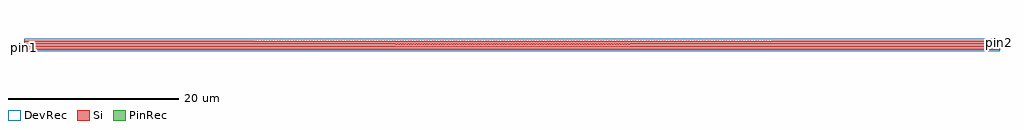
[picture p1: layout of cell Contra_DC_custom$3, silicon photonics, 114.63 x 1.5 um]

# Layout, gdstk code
import gdstk
lib = gdstk.Library(unit=1e-6, precision=1e-09)
def R(c, l, rs):  # rectangles x0, y0, x1, y1
    for r in rs: c.add(gdstk.rectangle(r[:2], r[2:], *l))
def A(c, l, x, y, w, h, nx, ny, dx, dy):  # array of equal rectangles
    R(c, l, [(x+i*dx, y+j*dy, x+i*dx+w, y+j*dy+h) for i in range(nx) for j in range(ny)])
def P(c, l, *ps):  # polygons
    for p in ps: c.add(gdstk.Polygon(p, *l))
Si = (1, 0)
PinRec = (1, 10)
DevRec = (68, 0)

contra_dc_custom_3 = lib.new_cell('Contra_DC_custom$3')
A(contra_dc_custom_3, Si, 43.803, -0.579, 0.157, 0.254, 88, 1, 0.314, 0)
A(contra_dc_custom_3, Si, 36.895, -0.578, 0.157, 0.253, 22, 1, 0.314, 0)
A(contra_dc_custom_3, Si, 71.435, -0.578, 0.157, 0.253, 22, 1, 0.314, 0)
A(contra_dc_custom_3, Si, 29.987, -0.577, 0.157, 0.252, 22, 1, 0.314, 0)
A(contra_dc_custom_3, Si, 78.343, -0.577, 0.157, 0.252, 22, 1, 0.314, 0)
A(contra_dc_custom_3, Si, 20.881, -0.576, 0.157, 0.251, 29, 1, 0.314, 0)
A(contra_dc_custom_3, Si, 85.251, -0.576, 0.157, 0.251, 29, 1, 0.314, 0)
A(contra_dc_custom_3, Si, 0.157, -0.575, 0.157, 0.25, 66, 2, 0.314, 0.25)
A(contra_dc_custom_3, Si, 94.357, -0.575, 0.157, 0.25, 65, 2, 0.314, 0.25)
A(contra_dc_custom_3, Si, 0, -0.574, 0.157, 0.249, 66, 1, 0.314, 0)
A(contra_dc_custom_3, Si, 94.2, -0.574, 0.157, 0.249, 65, 1, 0.314, 0)
A(contra_dc_custom_3, Si, 20.724, -0.573, 0.157, 0.248, 29, 1, 0.314, 0)
A(contra_dc_custom_3, Si, 85.094, -0.573, 0.157, 0.248, 29, 1, 0.314, 0)
A(contra_dc_custom_3, Si, 29.83, -0.572, 0.157, 0.247, 22, 1, 0.314, 0)
A(contra_dc_custom_3, Si, 78.186, -0.572, 0.157, 0.247, 22, 1, 0.314, 0)
A(contra_dc_custom_3, Si, 36.738, -0.571, 0.157, 0.246, 22, 1, 0.314, 0)
A(contra_dc_custom_3, Si, 71.278, -0.571, 0.157, 0.246, 22, 1, 0.314, 0)
A(contra_dc_custom_3, Si, 43.646, -0.57, 0.157, 0.245, 88, 1, 0.314, 0)
A(contra_dc_custom_3, Si, 0, -0.325, 0.157, 0.251, 66, 1, 0.314, 0)
A(contra_dc_custom_3, Si, 20.724, -0.325, 0.157, 0.252, 29, 1, 0.314, 0)
A(contra_dc_custom_3, Si, 20.881, -0.325, 0.157, 0.249, 29, 1, 0.314, 0)
A(contra_dc_custom_3, Si, 29.83, -0.325, 0.157, 0.253, 22, 1, 0.314, 0)
A(contra_dc_custom_3, Si, 29.987, -0.325, 0.157, 0.248, 22, 1, 0.314, 0)
A(contra_dc_custom_3, Si, 36.738, -0.325, 0.157, 0.254, 22, 1, 0.314, 0)
A(contra_dc_custom_3, Si, 36.895, -0.325, 0.157, 0.247, 22, 1, 0.314, 0)
A(contra_dc_custom_3, Si, 43.646, -0.325, 0.157, 0.255, 88, 1, 0.314, 0)
A(contra_dc_custom_3, Si, 43.803, -0.325, 0.157, 0.246, 88, 1, 0.314, 0)
A(contra_dc_custom_3, Si, 71.278, -0.325, 0.157, 0.254, 22, 1, 0.314, 0)
A(contra_dc_custom_3, Si, 71.435, -0.325, 0.157, 0.247, 22, 1, 0.314, 0)
A(contra_dc_custom_3, Si, 78.186, -0.325, 0.157, 0.253, 22, 1, 0.314, 0)
A(contra_dc_custom_3, Si, 78.343, -0.325, 0.157, 0.248, 22, 1, 0.314, 0)
A(contra_dc_custom_3, Si, 85.094, -0.325, 0.157, 0.252, 29, 1, 0.314, 0)
A(contra_dc_custom_3, Si, 85.251, -0.325, 0.157, 0.249, 29, 1, 0.314, 0)
A(contra_dc_custom_3, Si, 94.2, -0.325, 0.157, 0.251, 65, 1, 0.314, 0)
A(contra_dc_custom_3, Si, 50.868, 0.055, 0.157, 0.22, 42, 1, 0.314, 0)
A(contra_dc_custom_3, Si, 48.042, 0.056, 0.157, 0.219, 9, 1, 0.314, 0)
A(contra_dc_custom_3, Si, 64.056, 0.056, 0.157, 0.219, 9, 1, 0.314, 0)
A(contra_dc_custom_3, Si, 45.844, 0.057, 0.157, 0.218, 7, 1, 0.314, 0)
A(contra_dc_custom_3, Si, 66.882, 0.057, 0.157, 0.218, 7, 1, 0.314, 0)
A(contra_dc_custom_3, Si, 43.646, 0.058, 0.157, 0.217, 7, 1, 0.314, 0)
A(contra_dc_custom_3, Si, 69.08, 0.058, 0.157, 0.217, 7, 1, 0.314, 0)
A(contra_dc_custom_3, Si, 42.076, 0.059, 0.157, 0.216, 5, 1, 0.314, 0)
A(contra_dc_custom_3, Si, 71.278, 0.059, 0.157, 0.216, 5, 1, 0.314, 0)
A(contra_dc_custom_3, Si, 40.192, 0.06, 0.157, 0.215, 6, 1, 0.314, 0)
A(contra_dc_custom_3, Si, 72.848, 0.06, 0.157, 0.215, 6, 1, 0.314, 0)
A(contra_dc_custom_3, Si, 38.622, 0.061, 0.157, 0.214, 5, 1, 0.314, 0)
A(contra_dc_custom_3, Si, 74.732, 0.061, 0.157, 0.214, 5, 1, 0.314, 0)
A(contra_dc_custom_3, Si, 36.738, 0.062, 0.157, 0.213, 6, 1, 0.314, 0)
A(contra_dc_custom_3, Si, 76.302, 0.062, 0.157, 0.213, 6, 1, 0.314, 0)
A(contra_dc_custom_3, Si, 35.168, 0.063, 0.157, 0.212, 5, 1, 0.314, 0)
A(contra_dc_custom_3, Si, 78.186, 0.063, 0.157, 0.212, 5, 1, 0.314, 0)
A(contra_dc_custom_3, Si, 33.284, 0.064, 0.157, 0.211, 6, 1, 0.314, 0)
A(contra_dc_custom_3, Si, 79.756, 0.064, 0.157, 0.211, 6, 1, 0.314, 0)
A(contra_dc_custom_3, Si, 31.714, 0.065, 0.157, 0.21, 5, 1, 0.314, 0)
A(contra_dc_custom_3, Si, 81.64, 0.065, 0.157, 0.21, 5, 1, 0.314, 0)
A(contra_dc_custom_3, Si, 29.83, 0.066, 0.157, 0.209, 6, 1, 0.314, 0)
A(contra_dc_custom_3, Si, 83.21, 0.066, 0.157, 0.209, 6, 1, 0.314, 0)
A(contra_dc_custom_3, Si, 27.946, 0.067, 0.157, 0.208, 6, 1, 0.314, 0)
A(contra_dc_custom_3, Si, 85.094, 0.067, 0.157, 0.208, 6, 1, 0.314, 0)
A(contra_dc_custom_3, Si, 25.748, 0.068, 0.157, 0.207, 7, 1, 0.314, 0)
A(contra_dc_custom_3, Si, 86.978, 0.068, 0.157, 0.207, 7, 1, 0.314, 0)
A(contra_dc_custom_3, Si, 23.236, 0.069, 0.157, 0.206, 8, 1, 0.314, 0)
A(contra_dc_custom_3, Si, 89.176, 0.069, 0.157, 0.206, 8, 1, 0.314, 0)
A(contra_dc_custom_3, Si, 20.724, 0.07, 0.157, 0.205, 8, 1, 0.314, 0)
A(contra_dc_custom_3, Si, 91.688, 0.07, 0.157, 0.205, 8, 1, 0.314, 0)
A(contra_dc_custom_3, Si, 17.584, 0.071, 0.157, 0.204, 10, 1, 0.314, 0)
A(contra_dc_custom_3, Si, 94.2, 0.071, 0.157, 0.204, 10, 1, 0.314, 0)
A(contra_dc_custom_3, Si, 13.502, 0.072, 0.157, 0.203, 13, 1, 0.314, 0)
A(contra_dc_custom_3, Si, 97.34, 0.072, 0.157, 0.203, 13, 1, 0.314, 0)
A(contra_dc_custom_3, Si, 7.222, 0.073, 0.157, 0.202, 20, 1, 0.314, 0)
A(contra_dc_custom_3, Si, 101.422, 0.073, 0.157, 0.202, 20, 1, 0.314, 0)
A(contra_dc_custom_3, Si, 0, 0.074, 0.157, 0.201, 23, 1, 0.314, 0)
A(contra_dc_custom_3, Si, 107.702, 0.074, 0.157, 0.201, 22, 1, 0.314, 0)
A(contra_dc_custom_3, Si, 0.157, 0.075, 0.157, 0.2, 23, 1, 0.314, 0)
A(contra_dc_custom_3, Si, 107.859, 0.075, 0.157, 0.2, 22, 1, 0.314, 0)
A(contra_dc_custom_3, Si, 7.379, 0.076, 0.157, 0.199, 20, 1, 0.314, 0)
A(contra_dc_custom_3, Si, 101.579, 0.076, 0.157, 0.199, 20, 1, 0.314, 0)
A(contra_dc_custom_3, Si, 13.659, 0.077, 0.157, 0.198, 13, 1, 0.314, 0)
A(contra_dc_custom_3, Si, 97.497, 0.077, 0.157, 0.198, 13, 1, 0.314, 0)
A(contra_dc_custom_3, Si, 17.741, 0.078, 0.157, 0.197, 10, 1, 0.314, 0)
A(contra_dc_custom_3, Si, 94.357, 0.078, 0.157, 0.197, 10, 1, 0.314, 0)
A(contra_dc_custom_3, Si, 20.881, 0.079, 0.157, 0.196, 8, 1, 0.314, 0)
A(contra_dc_custom_3, Si, 91.845, 0.079, 0.157, 0.196, 8, 1, 0.314, 0)
A(contra_dc_custom_3, Si, 23.393, 0.08, 0.157, 0.195, 8, 1, 0.314, 0)
A(contra_dc_custom_3, Si, 89.333, 0.08, 0.157, 0.195, 8, 1, 0.314, 0)
A(contra_dc_custom_3, Si, 25.905, 0.081, 0.157, 0.194, 7, 1, 0.314, 0)
A(contra_dc_custom_3, Si, 87.135, 0.081, 0.157, 0.194, 7, 1, 0.314, 0)
A(contra_dc_custom_3, Si, 28.103, 0.082, 0.157, 0.193, 6, 1, 0.314, 0)
A(contra_dc_custom_3, Si, 85.251, 0.082, 0.157, 0.193, 6, 1, 0.314, 0)
A(contra_dc_custom_3, Si, 29.987, 0.083, 0.157, 0.192, 6, 1, 0.314, 0)
A(contra_dc_custom_3, Si, 83.367, 0.083, 0.157, 0.192, 6, 1, 0.314, 0)
A(contra_dc_custom_3, Si, 31.871, 0.084, 0.157, 0.191, 5, 1, 0.314, 0)
A(contra_dc_custom_3, Si, 81.797, 0.084, 0.157, 0.191, 5, 1, 0.314, 0)
A(contra_dc_custom_3, Si, 33.441, 0.085, 0.157, 0.19, 6, 1, 0.314, 0)
A(contra_dc_custom_3, Si, 79.913, 0.085, 0.157, 0.19, 6, 1, 0.314, 0)
A(contra_dc_custom_3, Si, 35.325, 0.086, 0.157, 0.189, 5, 1, 0.314, 0)
A(contra_dc_custom_3, Si, 78.343, 0.086, 0.157, 0.189, 5, 1, 0.314, 0)
A(contra_dc_custom_3, Si, 36.895, 0.087, 0.157, 0.188, 6, 1, 0.314, 0)
A(contra_dc_custom_3, Si, 76.459, 0.087, 0.157, 0.188, 6, 1, 0.314, 0)
A(contra_dc_custom_3, Si, 38.779, 0.088, 0.157, 0.187, 5, 1, 0.314, 0)
A(contra_dc_custom_3, Si, 74.889, 0.088, 0.157, 0.187, 5, 1, 0.314, 0)
A(contra_dc_custom_3, Si, 40.349, 0.089, 0.157, 0.186, 6, 1, 0.314, 0)
A(contra_dc_custom_3, Si, 73.005, 0.089, 0.157, 0.186, 6, 1, 0.314, 0)
A(contra_dc_custom_3, Si, 42.233, 0.09, 0.157, 0.185, 5, 1, 0.314, 0)
A(contra_dc_custom_3, Si, 71.435, 0.09, 0.157, 0.185, 5, 1, 0.314, 0)
A(contra_dc_custom_3, Si, 43.803, 0.091, 0.157, 0.184, 7, 1, 0.314, 0)
A(contra_dc_custom_3, Si, 69.237, 0.091, 0.157, 0.184, 7, 1, 0.314, 0)
A(contra_dc_custom_3, Si, 46.001, 0.092, 0.157, 0.183, 7, 1, 0.314, 0)
A(contra_dc_custom_3, Si, 67.039, 0.092, 0.157, 0.183, 7, 1, 0.314, 0)
A(contra_dc_custom_3, Si, 48.199, 0.093, 0.157, 0.182, 9, 1, 0.314, 0)
A(contra_dc_custom_3, Si, 64.213, 0.093, 0.157, 0.182, 9, 1, 0.314, 0)
A(contra_dc_custom_3, Si, 51.025, 0.094, 0.157, 0.181, 42, 1, 0.314, 0)
A(contra_dc_custom_3, Si, 0, 0.275, 0.157, 0.199, 31, 1, 0.314, 0)
A(contra_dc_custom_3, Si, 0.157, 0.275, 0.157, 0.2, 31, 1, 0.314, 0)
A(contra_dc_custom_3, Si, 9.734, 0.275, 0.157, 0.198, 21, 1, 0.314, 0)
A(contra_dc_custom_3, Si, 9.891, 0.275, 0.157, 0.201, 21, 1, 0.314, 0)
A(contra_dc_custom_3, Si, 16.328, 0.275, 0.157, 0.197, 14, 1, 0.314, 0)
A(contra_dc_custom_3, Si, 16.485, 0.275, 0.157, 0.202, 14, 1, 0.314, 0)
A(contra_dc_custom_3, Si, 20.724, 0.275, 0.157, 0.196, 11, 1, 0.314, 0)
A(contra_dc_custom_3, Si, 20.881, 0.275, 0.157, 0.203, 11, 1, 0.314, 0)
A(contra_dc_custom_3, Si, 24.178, 0.275, 0.157, 0.195, 9, 1, 0.314, 0)
A(contra_dc_custom_3, Si, 24.335, 0.275, 0.157, 0.204, 9, 1, 0.314, 0)
A(contra_dc_custom_3, Si, 27.004, 0.275, 0.157, 0.194, 9, 1, 0.314, 0)
A(contra_dc_custom_3, Si, 27.161, 0.275, 0.157, 0.205, 9, 1, 0.314, 0)
A(contra_dc_custom_3, Si, 29.83, 0.275, 0.157, 0.193, 8, 1, 0.314, 0)
A(contra_dc_custom_3, Si, 29.987, 0.275, 0.157, 0.206, 8, 1, 0.314, 0)
A(contra_dc_custom_3, Si, 32.342, 0.275, 0.157, 0.192, 7, 1, 0.314, 0)
A(contra_dc_custom_3, Si, 32.499, 0.275, 0.157, 0.207, 7, 1, 0.314, 0)
A(contra_dc_custom_3, Si, 34.54, 0.275, 0.157, 0.191, 7, 1, 0.314, 0)
A(contra_dc_custom_3, Si, 34.697, 0.275, 0.157, 0.208, 7, 1, 0.314, 0)
A(contra_dc_custom_3, Si, 36.738, 0.275, 0.157, 0.19, 7, 1, 0.314, 0)
A(contra_dc_custom_3, Si, 36.895, 0.275, 0.157, 0.209, 7, 1, 0.314, 0)
A(contra_dc_custom_3, Si, 38.936, 0.275, 0.157, 0.189, 8, 1, 0.314, 0)
A(contra_dc_custom_3, Si, 39.093, 0.275, 0.157, 0.21, 8, 1, 0.314, 0)
A(contra_dc_custom_3, Si, 41.448, 0.275, 0.157, 0.188, 7, 1, 0.314, 0)
A(contra_dc_custom_3, Si, 41.605, 0.275, 0.157, 0.211, 7, 1, 0.314, 0)
A(contra_dc_custom_3, Si, 43.646, 0.275, 0.157, 0.187, 9, 1, 0.314, 0)
A(contra_dc_custom_3, Si, 43.803, 0.275, 0.157, 0.212, 9, 1, 0.314, 0)
A(contra_dc_custom_3, Si, 46.472, 0.275, 0.157, 0.186, 11, 1, 0.314, 0)
A(contra_dc_custom_3, Si, 46.629, 0.275, 0.157, 0.213, 11, 1, 0.314, 0)
A(contra_dc_custom_3, Si, 49.926, 0.275, 0.157, 0.185, 48, 1, 0.314, 0)
A(contra_dc_custom_3, Si, 50.083, 0.275, 0.157, 0.214, 48, 1, 0.314, 0)
A(contra_dc_custom_3, Si, 64.998, 0.275, 0.157, 0.186, 11, 1, 0.314, 0)
A(contra_dc_custom_3, Si, 65.155, 0.275, 0.157, 0.213, 11, 1, 0.314, 0)
A(contra_dc_custom_3, Si, 68.452, 0.275, 0.157, 0.187, 9, 1, 0.314, 0)
A(contra_dc_custom_3, Si, 68.609, 0.275, 0.157, 0.212, 9, 1, 0.314, 0)
A(contra_dc_custom_3, Si, 71.278, 0.275, 0.157, 0.188, 7, 1, 0.314, 0)
A(contra_dc_custom_3, Si, 71.435, 0.275, 0.157, 0.211, 7, 1, 0.314, 0)
A(contra_dc_custom_3, Si, 73.476, 0.275, 0.157, 0.189, 8, 1, 0.314, 0)
A(contra_dc_custom_3, Si, 73.633, 0.275, 0.157, 0.21, 8, 1, 0.314, 0)
A(contra_dc_custom_3, Si, 75.988, 0.275, 0.157, 0.19, 7, 1, 0.314, 0)
A(contra_dc_custom_3, Si, 76.145, 0.275, 0.157, 0.209, 7, 1, 0.314, 0)
A(contra_dc_custom_3, Si, 78.186, 0.275, 0.157, 0.191, 7, 1, 0.314, 0)
A(contra_dc_custom_3, Si, 78.343, 0.275, 0.157, 0.208, 7, 1, 0.314, 0)
A(contra_dc_custom_3, Si, 80.384, 0.275, 0.157, 0.192, 7, 1, 0.314, 0)
A(contra_dc_custom_3, Si, 80.541, 0.275, 0.157, 0.207, 7, 1, 0.314, 0)
A(contra_dc_custom_3, Si, 82.582, 0.275, 0.157, 0.193, 8, 1, 0.314, 0)
A(contra_dc_custom_3, Si, 82.739, 0.275, 0.157, 0.206, 8, 1, 0.314, 0)
A(contra_dc_custom_3, Si, 85.094, 0.275, 0.157, 0.194, 9, 1, 0.314, 0)
A(contra_dc_custom_3, Si, 85.251, 0.275, 0.157, 0.205, 9, 1, 0.314, 0)
A(contra_dc_custom_3, Si, 87.92, 0.275, 0.157, 0.195, 9, 1, 0.314, 0)
A(contra_dc_custom_3, Si, 88.077, 0.275, 0.157, 0.204, 9, 1, 0.314, 0)
A(contra_dc_custom_3, Si, 90.746, 0.275, 0.157, 0.196, 11, 1, 0.314, 0)
A(contra_dc_custom_3, Si, 90.903, 0.275, 0.157, 0.203, 11, 1, 0.314, 0)
A(contra_dc_custom_3, Si, 94.2, 0.275, 0.157, 0.197, 14, 1, 0.314, 0)
A(contra_dc_custom_3, Si, 94.357, 0.275, 0.157, 0.202, 14, 1, 0.314, 0)
A(contra_dc_custom_3, Si, 98.596, 0.275, 0.157, 0.198, 21, 1, 0.314, 0)
A(contra_dc_custom_3, Si, 98.753, 0.275, 0.157, 0.201, 21, 1, 0.314, 0)
A(contra_dc_custom_3, Si, 105.19, 0.275, 0.157, 0.199, 30, 1, 0.314, 0)
A(contra_dc_custom_3, Si, 105.347, 0.275, 0.157, 0.2, 30, 1, 0.314, 0)
P(contra_dc_custom_3, Si, [(114.61,0.275),(114.61,0.475),(114.61,0.475),(114.61,0.275)],
  [(114.61,-0.575),(114.61,-0.325),(114.61,-0.325),(114.61,-0.575)])
R(contra_dc_custom_3, DevRec, [(0,-0.75,114.61,0.75)])
contra_dc_custom_3.add(gdstk.FlexPath([(0.01,-0.325),(-0.01,-0.325)], 0.5, ends="flush", simple_path=True, layer=1, datatype=10))  # PinRec
contra_dc_custom_3.add(gdstk.FlexPath([(0.01,0.275),(-0.01,0.275)], 0.4, ends="flush", simple_path=True, layer=1, datatype=10))  # PinRec
contra_dc_custom_3.add(gdstk.FlexPath([(114.6,0.275),(114.62,0.275)], 0.4, ends="flush", simple_path=True, layer=1, datatype=10))  # PinRec
contra_dc_custom_3.add(gdstk.FlexPath([(114.6,-0.325),(114.62,-0.325)], 0.5, ends="flush", simple_path=True, layer=1, datatype=10))  # PinRec
contra_dc_custom_3.add(gdstk.Label('pin1', (0,-0.325), layer=1, texttype=10))
contra_dc_custom_3.add(gdstk.Label('pin3', (0,0.275), layer=1, texttype=10))
contra_dc_custom_3.add(gdstk.Label('pin2', (114.61,0.275), layer=1, texttype=10))
contra_dc_custom_3.add(gdstk.Label('pin4', (114.61,-0.325), layer=1, texttype=10))
contra_dc_custom_3.add(gdstk.Label('Lumerical_INTERCONNECT_library=Design kits/ebeam', (0,0), layer=68, texttype=0))
contra_dc_custom_3.add(gdstk.Label('Component=ebeam_contra_dc', (11.461,0), layer=68, texttype=0))
contra_dc_custom_3.add(gdstk.Label('Spice_param:number_of_periods=365', (12.734,0), layer=68, texttype=0))

lib.write_gds('Contra_DC_custom_3.gds')
